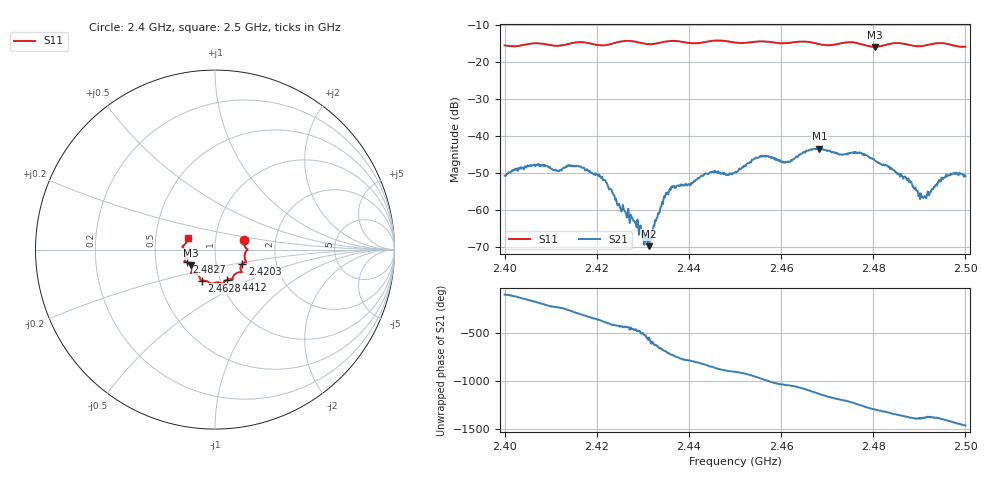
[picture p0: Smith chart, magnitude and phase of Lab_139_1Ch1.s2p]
# Hz S RI R 50
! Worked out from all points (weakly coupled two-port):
!   601 points, 2.4 GHz to 2.5 GHz, reference 50 ohm
!   highest |S21| = -43.37 dB at 2.4683 GHz (marker M1); lowest = -69.8 dB at 2.4313 GHz (marker M2)
!   lowest |S11| = -15.8 dB at 2.4803 GHz (marker M3), VSWR 1.39, Z = 37.5 - j6.78 ohm
!   |S11| at or under -10 dB: start of sweep to end of sweep
!   S12 and S22 are empty: the file has one direction only
!   S11 on the Smith chart (normalised r, x): 2.4 GHz: 1.38, +0.15; 2.4203 GHz: 1.34, -0.22; 2.4412 GHz: 1.08, -0.37; 2.4628 GHz: 0.82, -0.29; 2.4827 GHz: 0.72, -0.10; 2.5 GHz: 0.73, +0.10
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2.4e9  0.1614 0.0535  -0.000109 -0.00292  0 0  0 0
2.406e9  0.1806 0.000766  -0.00383 -0.0013  0 0  0 0
2.416667e9  0.1747 -0.0696  0.00199 0.00322  0 0  0 0
2.420333e9  0.1521 -0.0789  0.00288 0.000207  0 0  0 0
2.425e9  0.1466 -0.1218  0.000388 -0.00105  0 0  0 0
2.431333e9  0.114 -0.1351  -0.000324 1.51e-05  0 0  0 0
2.433333e9  0.0998 -0.1524  0.00021 0.000884  0 0  0 0
2.434667e9  0.0976 -0.1628  0.00126 0.000901  0 0  0 0
2.436333e9  0.0984 -0.1687  0.002 -0.000223  0 0  0 0
2.441167e9  0.0685 -0.1676  0.000543 -0.00244  0 0  0 0
2.445167e9  0.0438 -0.1914  -0.00225 -0.00237  0 0  0 0
2.45e9  0.0248 -0.1843  -0.0032 0.000328  0 0  0 0
2.455667e9  -0.0186 -0.1918  -0.00145 0.00508  0 0  0 0
2.462833e9  -0.0718 -0.1733  0.00445 0.00215  0 0  0 0
2.466667e9  -0.0806 -0.1681  0.00572 -0.0031  0 0  0 0
2.468333e9  -0.0848 -0.1547  0.00381 -0.00561  0 0  0 0
2.480333e9  -0.1364 -0.088  -0.00363 0.00297  0 0  0 0
2.482667e9  -0.1576 -0.0703  -0.00191 0.00361  0 0  0 0
2.483333e9  -0.163 -0.0683  -0.0012 0.0036  0 0  0 0
2.491e9  -0.1678 -0.00832  0.000847 0.00123  0 0  0 0
2.495333e9  -0.1801 0.0189  0.00227 0.00153  0 0  0 0
2.5e9  -0.1504 0.0641  0.00257 -0.0013  0 0  0 0
